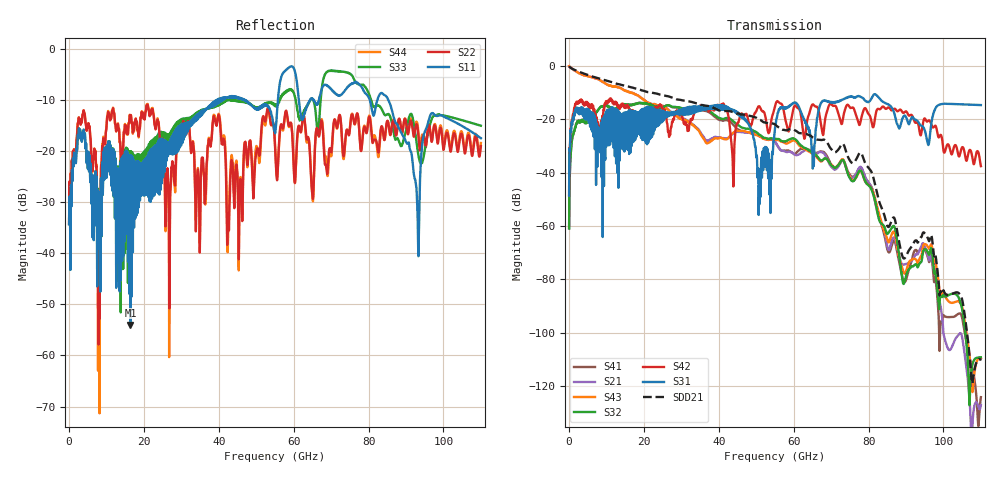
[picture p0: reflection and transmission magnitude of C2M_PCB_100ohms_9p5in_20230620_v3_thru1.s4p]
! Info: Touchstone file created by Circ.  Input file=C2M_PCB_100ohms_9p5in_20230620_v3.circ
# Hz S RI R 50
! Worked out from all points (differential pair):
!   11000 points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, 10 MHz to 110 GHz, reference 50 ohm
!   strongest paths, dB at 10 MHz, 27.51 GHz, 55.01 GHz, 82.51 GHz, 110 GHz:
!     S31: -48.7, -17.5, -23.2, -11.6, -14.7
!     S42: -48.6, -21.0, -15.0, -16.1, -37.6
!     S32: -60.9, -15.3, -27.3, -56.0, -109.2
!     S43: -0.2, -17.7, -27.7, -54.1, -109.6
!     S21: -0.2, -17.3, -28.4, -55.9, -127.0
!     S41: -60.9, -15.5, -28.5, -54.9, -124.1
!   taken as a pair (ports 3,1 in; 4,2 out), SDD21 dB: -0.2, -11.9, -22.0, -49.2, -110.4
!   lowest |S11| = -54.0 dB at 16.4 GHz (marker M1), VSWR 1.00, Z = 50 - j0.194 ohm
!   |S11| at or under -10 dB: start of sweep to 39.55 GHz; 47.11 GHz to 55.79 GHz (8.68 GHz wide, 16.9 % of centre); 85.27 GHz to end of sweep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
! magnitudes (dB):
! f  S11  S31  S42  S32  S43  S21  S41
! 10 MHz  -34.3  -48.7  -48.6  -60.9  -0.2  -0.2  -60.9
! 2.09 GHz  -19.9  -17.2  -14.1  -21.4  -2.3  -2.3  -21.4
! 16.4 GHz  -54.0  -26.8  -17.6  -14.6  -10.0  -10.0  -14.6
! 43.51 GHz  -9.5  -16.5  -31.8  -20.4  -25.5  -25.8  -21.5
! 50.76 GHz  -11.7  -44.9  -15.2  -25.7  -26.3  -26.0  -26.4
! 60.03 GHz  -3.8  -13.9  -15.6  -27.3  -28.0  -33.0  -33.1
! 110 GHz  -17.5  -14.7  -37.6  -109.2  -109.6  -127.0  -124.1
